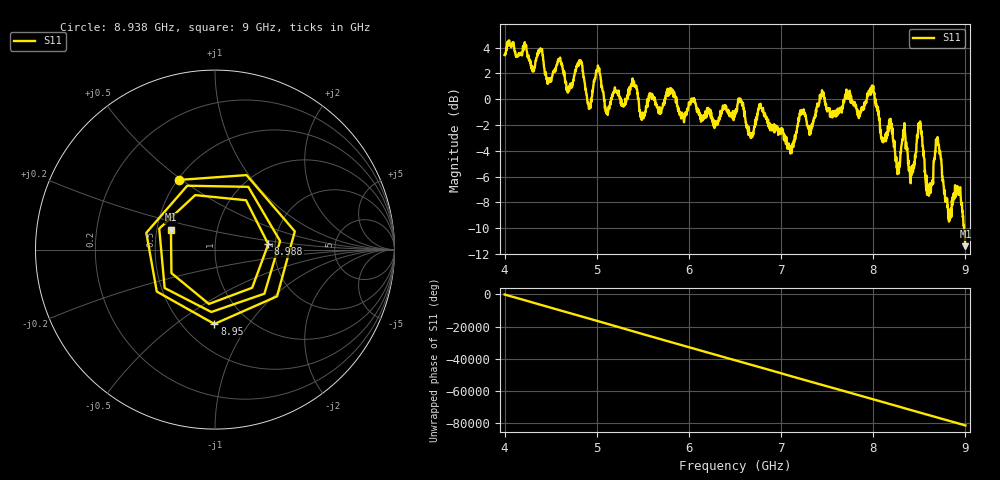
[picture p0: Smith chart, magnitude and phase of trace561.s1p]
! Created with skrf 1.8.0 (http://scikit-rf.org).
# Hz S RI R 50.0
!freq ReS11 ImS11
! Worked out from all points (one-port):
!   1601 points, 4 GHz to 9 GHz, reference 50 ohm
!   lowest |S11| = -11.4 dB at 9 GHz (marker M1), VSWR 1.74, Z = 29.7 + j7.07 ohm
!   |S11| at or under -10 dB: 8.985258 GHz to end of sweep
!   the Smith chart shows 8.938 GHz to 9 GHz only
!   S11 on the Smith chart (normalised r, x): 8.938 GHz: 0.51, +0.49; 8.95 GHz: 0.70, -0.70; 8.988 GHz: 1.84, +0.12; 9 GHz: 0.59, +0.14
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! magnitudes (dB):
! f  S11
! 4 GHz  3.4
! 4.625 GHz  2.7
! 4.697 GHz  0.7
! 4.819 GHz  2.9
! 4.919 GHz  -0.4
! 5.012 GHz  2.6
! 5.112 GHz  -1.0
! 5.25 GHz  0.1
! 5.875 GHz  -0.5
! 6.5 GHz  -1.1
! 6.678 GHz  -2.8
! 6.784 GHz  -0.7
! 7.125 GHz  -3.4
! 7.444 GHz  0.7
! 7.75 GHz  0.4
! 7.988 GHz  1.1
! 8.262 GHz  -5.8
! 8.331 GHz  -2.7
! 8.375 GHz  -4.4
! 8.425 GHz  -5.5
! 8.506 GHz  -2.1
! 8.597 GHz  -7.3
! 8.7 GHz  -3.0
! 8.825 GHz  -8.6
! 8.938 GHz  -7.2
! 8.95 GHz  -7.7
! 8.988 GHz  -10.5
! 9 GHz  -11.4
